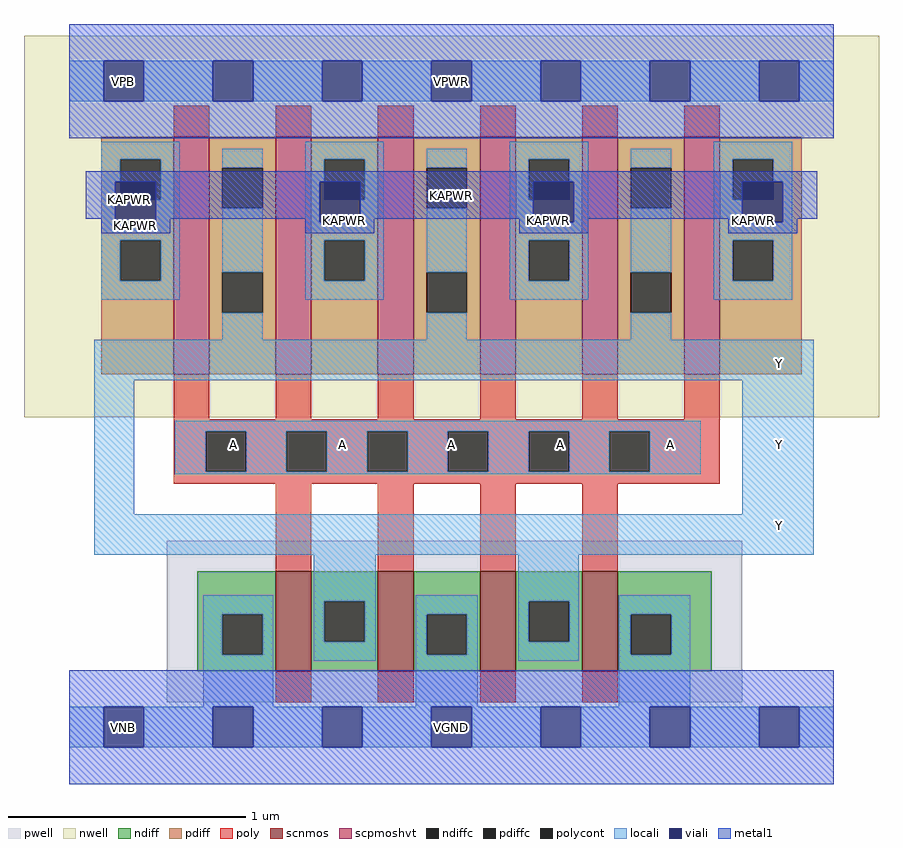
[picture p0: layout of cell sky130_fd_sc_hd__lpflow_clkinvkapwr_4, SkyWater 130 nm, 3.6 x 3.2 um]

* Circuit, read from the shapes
.subckt sky130_fd_sc_hd__lpflow_clkinvkapwr_4 A KAPWR VGND VNB VPB VPWR Y
XM1 Y A VGND VNB sky130_fd_pr__nfet_01v8 w=0.42 l=0.15 m=4
XM2 Y A KAPWR VPB sky130_fd_pr__pfet_01v8_hvt w=1 l=0.15 m=6
.ends

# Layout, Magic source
magic
tech sky130A
magscale 1 2
<< nwell >>
rect -38 261 682 582
<< pwell >>
rect 82 21 567 157
rect 29 -17 63 17
<< scnmos >>
rect 174 47 204 131
rect 260 47 290 131
rect 346 47 376 131
rect 432 47 462 131
<< scpmoshvt >>
rect 88 297 118 497
rect 174 297 204 497
rect 260 297 290 497
rect 346 297 376 497
rect 432 297 462 497
rect 518 297 548 497
<< ndiff >>
rect 108 95 174 131
rect 108 61 129 95
rect 163 61 174 95
rect 108 47 174 61
rect 204 106 260 131
rect 204 72 215 106
rect 249 72 260 106
rect 204 47 260 72
rect 290 95 346 131
rect 290 61 301 95
rect 335 61 346 95
rect 290 47 346 61
rect 376 106 432 131
rect 376 72 387 106
rect 421 72 432 106
rect 376 47 432 72
rect 462 95 541 131
rect 462 61 473 95
rect 507 61 541 95
rect 462 47 541 61
<< pdiff >>
rect 27 478 88 497
rect 27 444 43 478
rect 77 444 88 478
rect 27 410 88 444
rect 27 376 43 410
rect 77 376 88 410
rect 27 297 88 376
rect 118 471 174 497
rect 118 437 129 471
rect 163 437 174 471
rect 118 383 174 437
rect 118 349 129 383
rect 163 349 174 383
rect 118 297 174 349
rect 204 478 260 497
rect 204 444 215 478
rect 249 444 260 478
rect 204 410 260 444
rect 204 376 215 410
rect 249 376 260 410
rect 204 297 260 376
rect 290 471 346 497
rect 290 437 301 471
rect 335 437 346 471
rect 290 383 346 437
rect 290 349 301 383
rect 335 349 346 383
rect 290 297 346 349
rect 376 478 432 497
rect 376 444 387 478
rect 421 444 432 478
rect 376 410 432 444
rect 376 376 387 410
rect 421 376 432 410
rect 376 297 432 376
rect 462 471 518 497
rect 462 437 473 471
rect 507 437 518 471
rect 462 383 518 437
rect 462 349 473 383
rect 507 349 518 383
rect 462 297 518 349
rect 548 478 617 497
rect 548 444 559 478
rect 593 444 617 478
rect 548 410 617 444
rect 548 376 559 410
rect 593 376 617 410
rect 548 297 617 376
<< ndiffc >>
rect 129 61 163 95
rect 215 72 249 106
rect 301 61 335 95
rect 387 72 421 106
rect 473 61 507 95
<< pdiffc >>
rect 43 444 77 478
rect 43 376 77 410
rect 129 437 163 471
rect 129 349 163 383
rect 215 444 249 478
rect 215 376 249 410
rect 301 437 335 471
rect 301 349 335 383
rect 387 444 421 478
rect 387 376 421 410
rect 473 437 507 471
rect 473 349 507 383
rect 559 444 593 478
rect 559 376 593 410
<< poly >>
rect 88 497 118 523
rect 174 497 204 523
rect 260 497 290 523
rect 346 497 376 523
rect 432 497 462 523
rect 518 497 548 523
rect 88 259 118 297
rect 174 259 204 297
rect 260 259 290 297
rect 346 259 376 297
rect 432 259 462 297
rect 518 259 548 297
rect 88 249 548 259
rect 88 215 115 249
rect 149 215 183 249
rect 217 215 251 249
rect 285 215 319 249
rect 353 215 387 249
rect 421 215 455 249
rect 489 215 548 249
rect 88 205 548 215
rect 174 131 204 205
rect 260 131 290 205
rect 346 131 376 205
rect 432 131 462 205
rect 174 21 204 47
rect 260 21 290 47
rect 346 21 376 47
rect 432 21 462 47
<< polycont >>
rect 115 215 149 249
rect 183 215 217 249
rect 251 215 285 249
rect 319 215 353 249
rect 387 215 421 249
rect 455 215 489 249
<< locali >>
rect 0 527 29 561
rect 63 527 121 561
rect 155 527 213 561
rect 247 527 305 561
rect 339 527 397 561
rect 431 527 489 561
rect 523 527 581 561
rect 615 527 644 561
rect 27 478 93 493
rect 27 459 43 478
rect 27 425 39 459
rect 77 444 93 478
rect 73 425 93 444
rect 27 410 93 425
rect 27 376 43 410
rect 77 376 93 410
rect 27 360 93 376
rect 129 471 163 487
rect 129 383 163 437
rect 199 478 265 493
rect 199 459 215 478
rect 199 425 211 459
rect 249 444 265 478
rect 245 425 265 444
rect 199 410 265 425
rect 199 376 215 410
rect 249 376 265 410
rect 199 360 265 376
rect 301 471 335 487
rect 301 383 335 437
rect 129 326 163 349
rect 371 478 437 493
rect 371 444 387 478
rect 421 459 437 478
rect 371 425 391 444
rect 425 425 437 459
rect 371 410 437 425
rect 371 376 387 410
rect 421 376 437 410
rect 371 360 437 376
rect 473 471 507 487
rect 473 383 507 437
rect 301 326 335 349
rect 543 478 609 493
rect 543 444 559 478
rect 593 459 609 478
rect 543 425 567 444
rect 601 425 609 459
rect 543 410 609 425
rect 543 376 559 410
rect 593 376 609 410
rect 543 360 609 376
rect 473 326 507 349
rect 21 292 627 326
rect 21 179 55 292
rect 89 249 532 258
rect 89 215 115 249
rect 149 215 183 249
rect 217 215 251 249
rect 285 215 319 249
rect 353 215 387 249
rect 421 215 455 249
rect 489 215 532 249
rect 89 213 532 215
rect 567 179 627 292
rect 21 145 627 179
rect 113 95 172 111
rect 113 61 129 95
rect 163 61 172 95
rect 113 17 172 61
rect 206 106 258 145
rect 206 72 215 106
rect 249 72 258 106
rect 206 56 258 72
rect 292 95 344 111
rect 292 61 301 95
rect 335 61 344 95
rect 292 17 344 61
rect 378 106 429 145
rect 378 72 387 106
rect 421 72 429 106
rect 378 56 429 72
rect 463 95 523 111
rect 463 61 473 95
rect 507 61 523 95
rect 463 17 523 61
rect 0 -17 29 17
rect 63 -17 121 17
rect 155 -17 213 17
rect 247 -17 305 17
rect 339 -17 397 17
rect 431 -17 489 17
rect 523 -17 581 17
rect 615 -17 644 17
<< viali >>
rect 29 527 63 561
rect 121 527 155 561
rect 213 527 247 561
rect 305 527 339 561
rect 397 527 431 561
rect 489 527 523 561
rect 581 527 615 561
rect 39 444 43 459
rect 43 444 73 459
rect 39 425 73 444
rect 211 444 215 459
rect 215 444 245 459
rect 211 425 245 444
rect 391 444 421 459
rect 421 444 425 459
rect 391 425 425 444
rect 567 444 593 459
rect 593 444 601 459
rect 567 425 601 444
rect 29 -17 63 17
rect 121 -17 155 17
rect 213 -17 247 17
rect 305 -17 339 17
rect 397 -17 431 17
rect 489 -17 523 17
rect 581 -17 615 17
<< metal1 >>
rect 0 561 644 592
rect 0 527 29 561
rect 63 527 121 561
rect 155 527 213 561
rect 247 527 305 561
rect 339 527 397 561
rect 431 527 489 561
rect 523 527 581 561
rect 615 527 644 561
rect 0 496 644 527
rect 14 459 630 468
rect 14 428 39 459
rect 27 425 39 428
rect 73 428 211 459
rect 73 425 85 428
rect 27 416 85 425
rect 199 425 211 428
rect 245 428 391 459
rect 245 425 257 428
rect 199 416 257 425
rect 379 425 391 428
rect 425 428 567 459
rect 425 425 437 428
rect 379 416 437 425
rect 555 425 567 428
rect 601 428 630 459
rect 601 425 613 428
rect 555 416 613 425
rect 0 17 644 48
rect 0 -17 29 17
rect 63 -17 121 17
rect 155 -17 213 17
rect 247 -17 305 17
rect 339 -17 397 17
rect 431 -17 489 17
rect 523 -17 581 17
rect 615 -17 644 17
rect 0 -48 644 -17
<< labels >>
flabel locali s 213 221 247 255 0 FreeSans 400 0 0 0 A
port 1 nsew signal input
flabel locali s 305 221 339 255 0 FreeSans 400 0 0 0 A
port 1 nsew signal input
flabel locali s 581 153 615 187 0 FreeSans 400 0 0 0 Y
port 7 nsew signal output
flabel locali s 121 221 155 255 0 FreeSans 400 0 0 0 A
port 1 nsew signal input
flabel locali s 581 289 615 323 0 FreeSans 400 0 0 0 Y
port 7 nsew signal output
flabel locali s 489 221 523 255 0 FreeSans 400 0 0 0 A
port 1 nsew signal input
flabel locali s 397 221 431 255 0 FreeSans 400 0 0 0 A
port 1 nsew signal input
flabel locali s 581 221 615 255 0 FreeSans 400 0 0 0 Y
port 7 nsew signal output
flabel pwell s 29 -17 63 17 0 FreeSans 200 0 0 0 VNB
port 4 nsew ground bidirectional
flabel nwell s 29 527 63 561 0 FreeSans 200 0 0 0 VPB
port 5 nsew power bidirectional
flabel metal1 s 33 429 68 460 0 FreeSans 200 0 0 0 KAPWR
port 2 nsew power bidirectional abutment
flabel metal1 s 29 527 63 561 0 FreeSans 200 0 0 0 VPWR
port 6 nsew power bidirectional abutment
flabel metal1 s 29 -17 63 17 0 FreeSans 200 0 0 0 VGND
port 3 nsew ground bidirectional abutment
rlabel comment s 0 0 0 0 4 lpflow_clkinvkapwr_4
rlabel locali s 199 360 265 493 1 KAPWR
port 2 nsew power bidirectional abutment
rlabel locali s 371 360 437 493 1 KAPWR
port 2 nsew power bidirectional abutment
rlabel locali s 543 360 609 493 1 KAPWR
port 2 nsew power bidirectional abutment
rlabel metal1 s 555 416 613 428 1 KAPWR
port 2 nsew power bidirectional abutment
rlabel metal1 s 379 416 437 428 1 KAPWR
port 2 nsew power bidirectional abutment
rlabel metal1 s 199 416 257 428 1 KAPWR
port 2 nsew power bidirectional abutment
rlabel metal1 s 27 416 85 428 1 KAPWR
port 2 nsew power bidirectional abutment
rlabel metal1 s 14 428 630 468 1 KAPWR
port 2 nsew power bidirectional abutment
rlabel metal1 s 0 -48 644 48 1 VGND
port 3 nsew ground bidirectional abutment
rlabel metal1 s 0 496 644 592 1 VPWR
port 6 nsew power bidirectional abutment
<< properties >>
string FIXED_BBOX 0 0 644 544
string GDS_END 2292216
string GDS_FILE $PDKPATH/libs.ref/sky130_fd_sc_hd/gds/sky130_fd_sc_hd.gds
string GDS_START 2285596
string LEFclass CORE
string LEFsite unithd
string LEFsymmetry X Y R90
string path 0.000 0.000 16.100 0.000 
<< end >>
